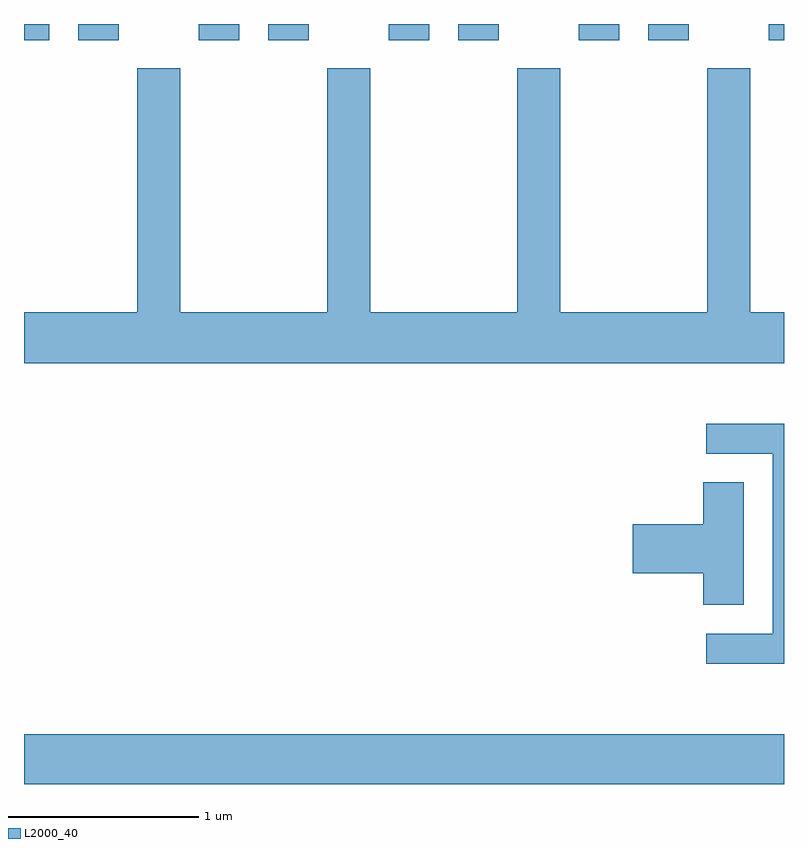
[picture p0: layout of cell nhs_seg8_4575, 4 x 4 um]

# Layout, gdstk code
import gdstk
lib = gdstk.Library(unit=1e-6, precision=1e-09)
def R(c, l, rs):  # rectangles x0, y0, x1, y1
    for r in rs: c.add(gdstk.rectangle(r[:2], r[2:], *l))
def P(c, l, *ps):  # polygons
    for p in ps: c.add(gdstk.Polygon(p, *l))
L2000_40 = (2000, 40)

nhs_seg8_4575 = lib.new_cell('nhs_seg8_4575')
R(nhs_seg8_4575, L2000_40, [(321.611,1916.342,325.611,1916.604), (321.611,1920.256,321.744,1920.342), (321.896,1920.256,322.109,1920.342), (322.531,1920.256,322.744,1920.342), (322.896,1920.256,323.109,1920.342), (323.531,1920.256,323.744,1920.342), (323.896,1920.256,324.109,1920.342), (324.531,1920.256,324.744,1920.342), (324.896,1920.256,325.109,1920.342), (325.531,1920.256,325.611,1920.342)])
P(nhs_seg8_4575, L2000_40, [(325.611,1918.824),(325.434,1918.824),(325.434,1920.109),(325.206,1920.109),(325.206,1918.824),(324.434,1918.824),(324.434,1920.109),(324.206,1920.109),(324.206,1918.824),(323.434,1918.824),(323.434,1920.109),(323.206,1920.109),(323.206,1918.824),(322.434,1918.824),(322.434,1920.109),(322.206,1920.109),(322.206,1918.824),(321.611,1918.824),(321.611,1918.556),(325.611,1918.556)],
  [(325.611,1918.239),(325.203,1918.239),(325.203,1918.081),(325.551,1918.081),(325.551,1917.134),(325.203,1917.134),(325.203,1916.976),(325.611,1916.976)],
  [(325.399,1917.929),(325.186,1917.929),(325.186,1917.709),(324.816,1917.709),(324.816,1917.451),(325.186,1917.451),(325.186,1917.286),(325.399,1917.286)])

lib.write_gds('nhs_seg8_4575.gds')
